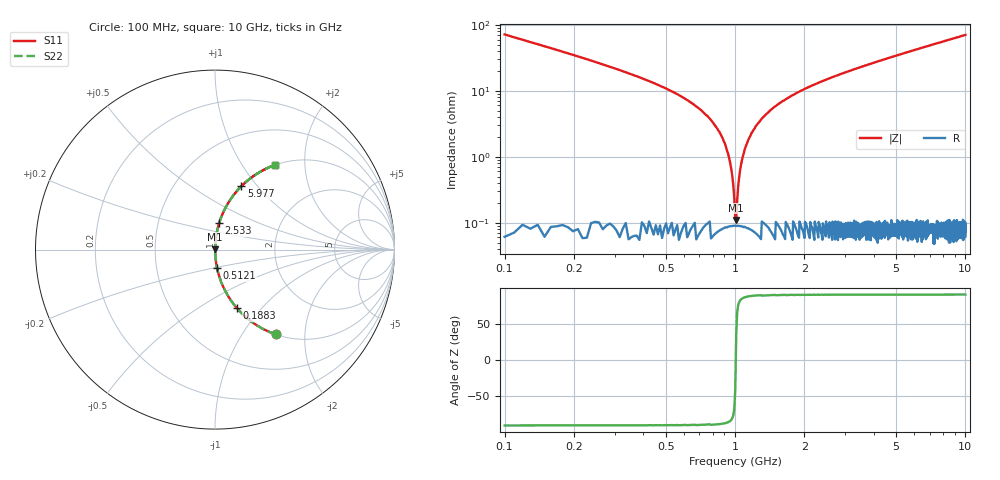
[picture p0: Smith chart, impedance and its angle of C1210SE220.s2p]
! AVX Thin Film Operation		Date: April 2012
! Description: Accu-P® Series, Thin Film, SMD, RF Capacitor
! Part Number: 12101J220FBTTR
!	100	MHz	-	10.05	GHz
!	Serial	Measurements
#	MHZ	S	MA	R	50
!	S11	S21	S12	S22
!	dB	Phase	dB	Phase	dB	Phase	dB	Phase
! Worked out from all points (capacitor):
!   1010 points, 100 MHz to 10 GHz, reference 50 ohm
!   read as one part in series: C = 22 pF near 149.1 MHz
!   lowest |Z| = 110 mohm at 1.012 GHz (marker M1)
!   series resonance near 1.008 GHz, so ESL is about 1.1 nH
!   S11 on the Smith chart (normalised r, x): 100 MHz: 1.00, -1.43; 188.3 MHz: 1.00, -0.74; 512.1 MHz: 1.00, -0.21; 2.533 GHz: 1.00, +0.30; 5.977 GHz: 1.00, +0.83; 10 GHz: 1.00, +1.41
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100  0.582 -54.3  0.813 35.6  0.813 35.6  0.582 -54.3
188.305  0.347 -69.5  0.937 20.3  0.937 20.3  0.347 -69.5
512.091  0.104 -83.6  0.994 6.0  0.994 6.0  0.104 -83.6
718.137  0.05 -86.2  0.998 2.8  0.998 2.8  0.05 -86.2
835.877  0.027 -86.8  0.999 1.5  0.999 1.5  0.027 -86.8
914.371  0.014 -85.9  0.999 0.8  0.999 0.8  0.014 -85.9
933.994  0.011 -85.2  0.999 0.6  0.999 0.6  0.011 -85.2
973.241  0.0051 -80.7  0.999 0.3  0.999 0.3  0.0051 -80.7
1012.488  0.00102 38.6  0.999 -0.0  0.999 -0.0  0.00102 38.6
1041.923  0.00482 80.2  0.999 -0.3  0.999 -0.3  0.00482 80.2
1081.169  0.01 84.9  0.999 -0.6  0.999 -0.6  0.01 84.9
1110.605  0.014 85.9  0.999 -0.8  0.999 -0.8  0.014 85.9
1228.345  0.029 86.8  0.999 -1.6  0.999 -1.6  0.029 86.8
1463.826  0.055 86.0  0.998 -3.1  0.998 -3.1  0.055 86.0
1758.176  0.084 84.7  0.996 -4.8  0.996 -4.8  0.084 84.7
2533.3  0.15 81.1  0.988 -8.6  0.988 -8.6  0.15 81.1
3406.541  0.216 77.3  0.976 -12.5  0.976 -12.5  0.216 77.3
5054.906  0.326 70.8  0.944 -19.1  0.944 -19.1  0.326 70.8
5977.205  0.382 67.4  0.923 -22.4  0.923 -22.4  0.382 67.4
6703.271  0.422 64.9  0.906 -25.0  0.906 -25.0  0.422 64.9
8351.635  0.505 59.6  0.862 -30.3  0.862 -30.3  0.505 59.6
10000  0.576 54.8  0.817 -35.2  0.817 -35.2  0.576 54.8
